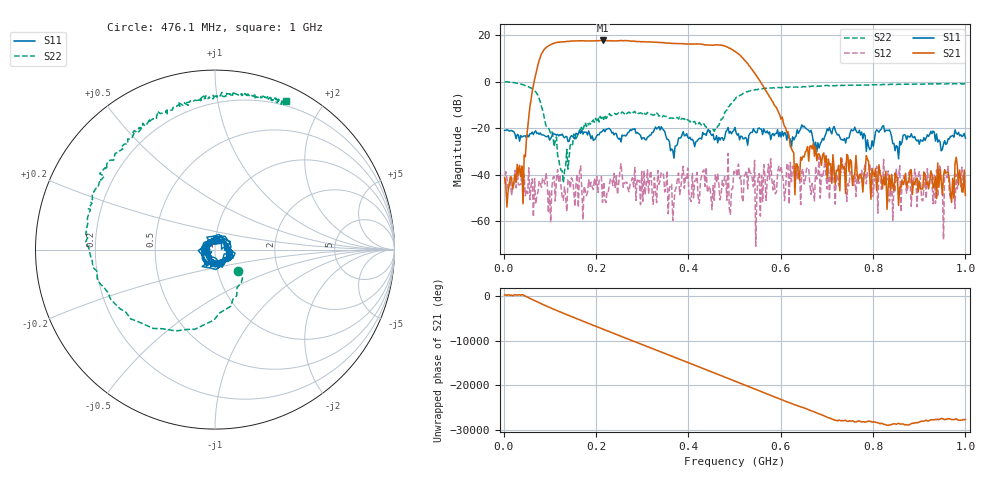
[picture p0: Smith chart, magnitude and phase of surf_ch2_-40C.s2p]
!Keysight Technologies N9923A: A.12.45
!Date: Friday, 31 October 2025 03:43:48
!Timezone: (UTC+08:00) Kuala Lumpur, Singapore
!Model: N9923A
!Serial: MY61181427
!GPS Latitude:
!GPS Longitude:
!GPS TimeStamp: 0001-01-01 00:00:00Z
!GPS Seconds Since Last Read: 0
!CHECKSUM:1315108197
!Correction: S11(ON U?)S21(ON U?)S12(ON U?)S22(ON U?)
!S2P File: Measurements:S11,S21,S12,S22:
# Hz S DB R 50
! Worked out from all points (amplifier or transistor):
!   401 points, 2 MHz to 1 GHz, reference 50 ohm
!   highest |S21| = 17.7 dB at 214.1 MHz (marker M1)
!   |S21| within 3 dB of that: 91.98 MHz to 486.2 MHz (394.3 MHz wide, 136 % of centre)
!   unconditionally stable (mu >= 1): start of sweep to end of sweep
!   at 166.7 MHz: K = 4.26, MAG = 17.6 dB, |S12| = -36.2 dB
!   at 501 MHz: K = 8.36, MAG = 13.9 dB, |S12| = -39.2 dB
!   at 1 GHz: K = 2043.98, MAG = -40.8 dB, |S12| = -39.5 dB
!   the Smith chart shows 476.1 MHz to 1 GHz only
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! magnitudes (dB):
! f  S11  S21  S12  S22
! 2 MHz  -21.0  -41.3  -43.8  -0.1
! 41.92 MHz  -23.5  -52.5  -52.1  -1.4
! 61.88 MHz  -21.6  -4.3  -41.8  -3.1
! 84.33 MHz  -22.9  12.8  -41.3  -12.4
! 126.8 MHz  -22.5  17.1  -49.5  -38.3
! 169.2 MHz  -20.8  17.6  -45.7  -19.3
! 214.1 MHz  -21.2  17.7  -51.9  -14.7
! 336.3 MHz  -19.3  16.9  -44.1  -14.8
! 366.3 MHz  -29.4  16.4  -59.6  -15.7
! 433.6 MHz  -22.7  15.9  -37.9  -18.1
! 451.1 MHz  -23.1  15.6  -55.0  -20.4
! 501 MHz  -19.6  13.0  -39.2  -7.6
! 538.4 MHz  -21.8  5.1  -41.7  -3.8
! 550.9 MHz  -20.2  1.6  -41.6  -3.3
! 575.9 MHz  -21.6  -6.5  -42.0  -2.7
! 635.7 MHz  -20.6  -35.5  -41.6  -2.3
! 668.2 MHz  -22.9  -28.9  -43.7  -2.0
! 735.5 MHz  -25.2  -37.1  -38.7  -1.7
! 835.3 MHz  -20.7  -40.1  -51.6  -1.2
! 970.1 MHz  -23.5  -51.9  -49.2  -1.0
! 982.5 MHz  -22.6  -36.0  -46.1  -0.9
! 1 GHz  -24.3  -48.9  -39.5  -0.7
